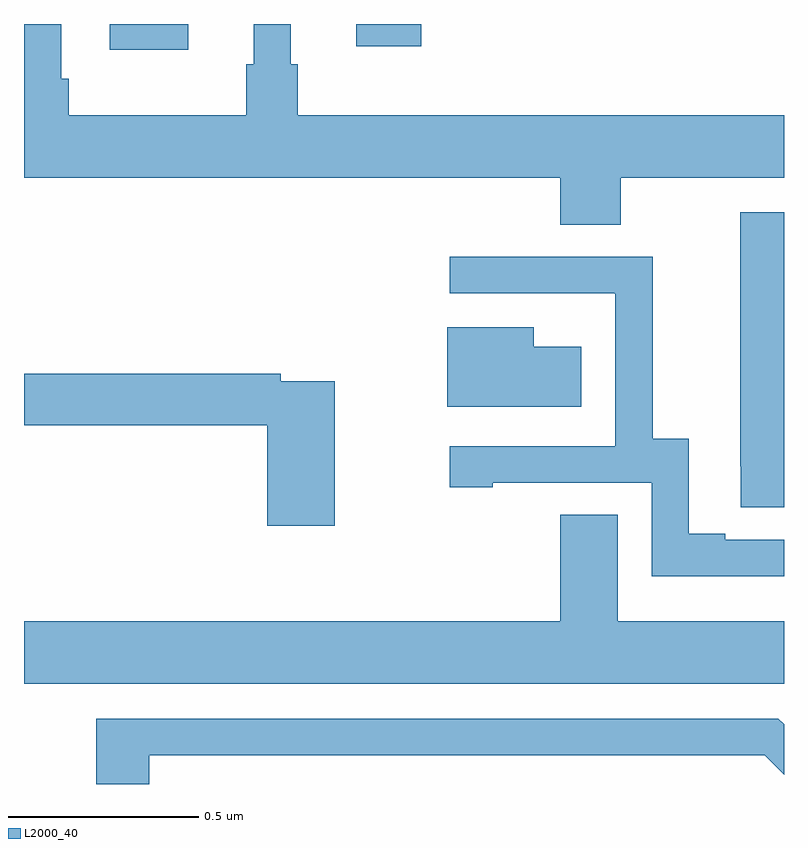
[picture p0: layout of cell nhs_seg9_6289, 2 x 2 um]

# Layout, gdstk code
import gdstk
lib = gdstk.Library(unit=1e-6, precision=1e-09)
def R(c, l, rs):  # rectangles x0, y0, x1, y1
    for r in rs: c.add(gdstk.rectangle(r[:2], r[2:], *l))
def P(c, l, *ps):  # polygons
    for p in ps: c.add(gdstk.Polygon(p, *l))
L2000_40 = (2000, 40)

nhs_seg9_6289 = lib.new_cell('nhs_seg9_6289')
R(nhs_seg9_6289, L2000_40, [(190.226,1187.432,190.432,1187.5), (190.874,1187.442,191.045,1187.5)])
P(nhs_seg9_6289, L2000_40, [(191.571,1187.096),(192,1187.096),(192,1187.26),(190.721,1187.26),(190.721,1187.394),(190.702,1187.394),(190.702,1187.5),(190.604,1187.5),(190.604,1187.394),(190.585,1187.394),(190.585,1187.26),(190.118,1187.26),(190.118,1187.356),(190.098,1187.356),(190.098,1187.5),(190.001,1187.5),(190.001,1187.26),(190,1187.26),(190,1187.096),(191.411,1187.096),(191.411,1186.972),(191.571,1186.972)],
  [(192,1187.004),(191.885,1187.004),(191.885,1186.336),(191.886,1186.336),(191.886,1186.228),(192,1186.228)],
  [(192,1186.143),(191.845,1186.143),(191.845,1186.158),(191.749,1186.158),(191.749,1186.409),(191.655,1186.409),(191.655,1186.887),(191.121,1186.887),(191.121,1186.791),(191.555,1186.791),(191.555,1186.79),(191.556,1186.79),(191.556,1186.389),(191.121,1186.389),(191.121,1186.281),(191.233,1186.281),(191.233,1186.293),(191.652,1186.293),(191.652,1186.047),(192,1186.047)],
  [(191.467,1186.651),(191.341,1186.651),(191.341,1186.702),(191.114,1186.702),(191.114,1186.493),(191.467,1186.493)],
  [(190.818,1186.56),(190.676,1186.56),(190.676,1186.58),(190,1186.58),(190,1186.444),(190.64,1186.444),(190.64,1186.179),(190.818,1186.179)],
  [(192,1185.928),(191.563,1185.928),(191.563,1186.208),(191.411,1186.208),(191.411,1185.928),(190,1185.928),(190,1185.764),(192,1185.764)],
  [(190.33,1185.576),(191.949,1185.576),(192,1185.525),(192,1185.657),(191.985,1185.672),(190.19,1185.672),(190.19,1185.5),(190.33,1185.5)])

lib.write_gds('nhs_seg9_6289.gds')
